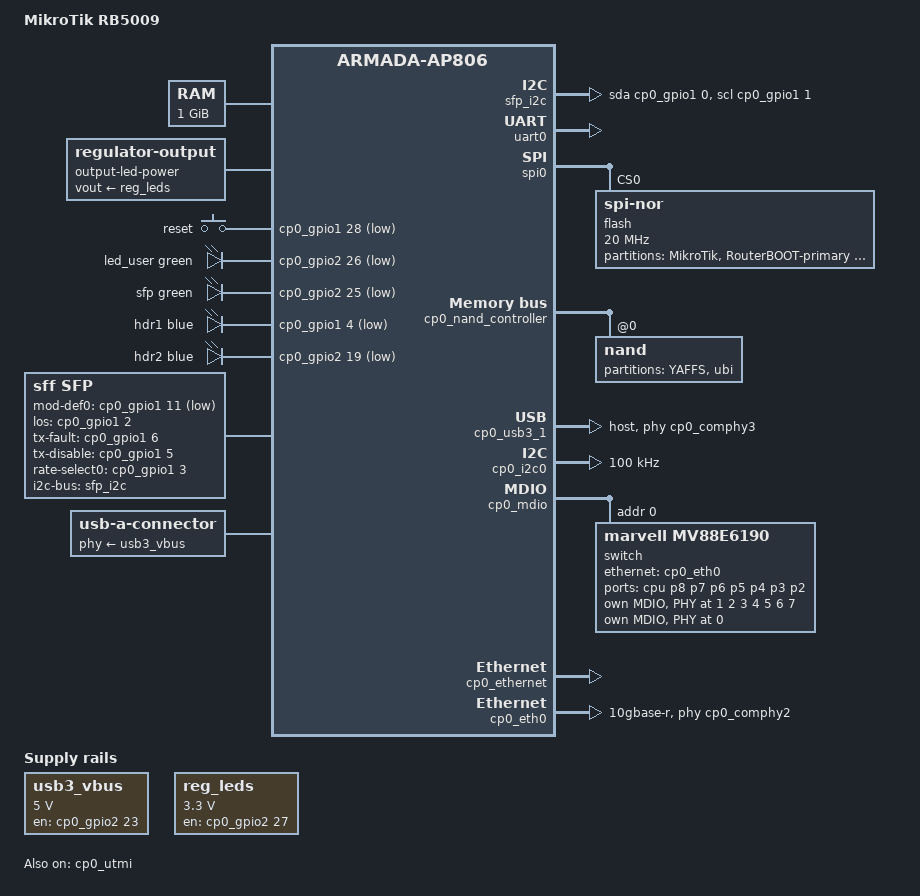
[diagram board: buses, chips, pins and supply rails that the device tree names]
// SPDX-License-Identifier: GPL-2.0-or-later OR MIT

/dts-v1/;

#include "armada-7040.dtsi"
#include <dt-bindings/gpio/gpio.h>
#include <dt-bindings/input/input.h>
#include <dt-bindings/leds/common.h>

/ {
	model = "MikroTik RB5009";
	compatible = "mikrotik,rb5009", "marvell,armada7040",
		     "marvell,armada-ap806-quad", "marvell,armada-ap806";

	chosen {
		stdout-path = "serial0:115200n8";
	};

	memory@0 {
		device_type = "memory";
		reg = <0x0 0x0 0x0 0x40000000>;
	};

	aliases {
		led-boot = &led_user;
		led-failsafe = &led_user;
		led-running = &led_user;
		led-upgrade = &led_user;
		label-mac-device = &p1;
	};

	usb3_vbus: regulator-usb3-vbus0 {
		compatible = "regulator-fixed";
		regulator-name = "usb3_vbus";
		regulator-min-microvolt = <5000000>;
		regulator-max-microvolt = <5000000>;
		gpio = <&cp0_gpio2 23 GPIO_ACTIVE_HIGH>;
		enable-active-high;
	};

	reg_leds: regulator-leds {
		compatible = "regulator-fixed";
		regulator-name = "LED-power";
		regulator-min-microvolt = <3300000>;
		regulator-max-microvolt = <3300000>;
		gpio = <&cp0_gpio2 27 GPIO_ACTIVE_HIGH>;
		enable-active-high;
		regulator-boot-on;
	};

	output-led-power {
		compatible = "regulator-output";
		vout-supply = <&reg_leds>;
	};

	sfp_i2c: sfp-i2c {
		compatible = "i2c-gpio";
		sda-gpios = <&cp0_gpio1 0 (GPIO_ACTIVE_HIGH|GPIO_OPEN_DRAIN)>;
		scl-gpios = <&cp0_gpio1 1 (GPIO_ACTIVE_HIGH|GPIO_OPEN_DRAIN)>;
	};

	keys {
		compatible = "gpio-keys";

		reset {
			label = "reset";
			gpios = <&cp0_gpio1 28 GPIO_ACTIVE_LOW>;
			linux,code = <KEY_RESTART>;
		};
	};

	leds {
		compatible = "gpio-leds";

		led_user: user {
			function = "user";
			gpios = <&cp0_gpio2 26 GPIO_ACTIVE_LOW>;
			color = <LED_COLOR_ID_GREEN>;
		};

		sfp {
			function = "sfp";
			gpios = <&cp0_gpio2 25 GPIO_ACTIVE_LOW>;
			color = <LED_COLOR_ID_GREEN>;
		};

		hdr1 {
			function = "hdr1";
			gpios = <&cp0_gpio1 4 GPIO_ACTIVE_LOW>;
			color = <LED_COLOR_ID_BLUE>;
		};

		hdr2 {
			function = "hdr2";
			gpios = <&cp0_gpio2 19 GPIO_ACTIVE_LOW>;
			color = <LED_COLOR_ID_BLUE>;
		};
	};

	sfp: sfp {
		compatible = "sff,sfp";
		i2c-bus = <&sfp_i2c>;
		mod-def0-gpios = <&cp0_gpio1 11 GPIO_ACTIVE_LOW>;
		los-gpios = <&cp0_gpio1 2 GPIO_ACTIVE_HIGH>;
		tx-fault-gpios = <&cp0_gpio1 6 GPIO_ACTIVE_HIGH>;
		tx-disable-gpios = <&cp0_gpio1 5 GPIO_ACTIVE_HIGH>;
		rate-select0-gpios = <&cp0_gpio1 3 GPIO_ACTIVE_HIGH>;
	};
};

&uart0 {
	status = "okay";

	pinctrl-0 = <&uart0_pins>;
	pinctrl-names = "default";
};


&spi0 {
	status = "okay";

	flash@0 {
		#address-cells = <1>;
		#size-cells = <1>;
		compatible = "jedec,spi-nor";
		reg = <0>;
		spi-max-frequency = <20000000>;

		partitions {
			compatible = "fixed-partitions";
			#address-cells = <1>;
			#size-cells = <1>;

			partition@0 {
				compatible = "mikrotik,routerboot-partitions";
				#address-cells = <1>;
				#size-cells = <1>;
				label = "MikroTik";
				reg = <0x0 0xfe0000>;

				hard_config: hard_config {
					read-only;

					nvmem-layout {
						compatible = "mikrotik,routerboot-nvmem";

						macaddr_hard: base-mac-address {
							#nvmem-cell-cells = <1>;
						};
					};
				};

				soft_config {
				};

				dtb_config {
					read-only;
				};
			};

			partition@b0000 {
				label = "RouterBOOT-primary";
				reg = <0xb0000 0x10000>;
			};

			/* Empty space on NOR repurposed for U-Boot environment */
			partition@fe0000 {
				label = "u-boot-env";
				reg = <0xfe0000 0x20000>;

				nvmem-layout {
					compatible = "u-boot,env";
				};
			};
		};
	};
};

&cp0_nand_controller {
	status = "okay";

	nand@0 {
		reg = <0>;
		nand-rb = <0>;
		nand-ecc-mode = "hw";
		nand-ecc-strength = <4>;
		nand-ecc-step-size = <512>;
		nand-on-flash-bbt;

		partitions {
			compatible = "fixed-partitions";
			#address-cells = <1>;
			#size-cells = <1>;

			partition@0 {
				label = "YAFFS";
				reg = <0x0 0x800000>;
			};

			partition@800000 {
				label = "ubi";
				reg = <0x800000 0x3f800000>;
			};
		};
	};
};

&cp0_utmi {
	status = "okay";
};

&cp0_comphy3 {
	connector {
		compatible = "usb-a-connector";
		phy-supply = <&usb3_vbus>;
	};
};

&cp0_usb3_1 {
	status = "okay";
	phys = <&cp0_comphy3 1>, <&cp0_utmi1>;
	phy-names = "cp0-usb3h1-comphy", "utmi";
	dr_mode = "host";
};

&cp0_i2c0 {
	status = "okay";
	clock-frequency = <100000>;
};

&cp0_mdio {
	status = "okay";
};

&cp0_ethernet {
	status = "okay";
};

&cp0_eth0 {
	/* This port is connected to 88E6393X switch */
	status = "okay";
	phy-mode = "10gbase-r";
	phys = <&cp0_comphy2 0>;
	managed = "in-band-status";
	nvmem-cells = <&macaddr_hard 0>;
	nvmem-cell-names = "mac-address";
};

&cp0_mdio {
	status = "okay";

	switch@0 {
		/* Actual device is MV88E6393X */
		compatible = "marvell,mv88e6190";
		#address-cells = <1>;
		#size-cells = <0>;
		reg = <0>;
		/* LED config is lost if switch is reset */
		//reset-gpios = <&cp0_gpio2 2 GPIO_ACTIVE_HIGH>;

		ports {
			#address-cells = <1>;
			#size-cells = <0>;

			port@0 {
				reg = <0>;
				label = "cpu";
				ethernet = <&cp0_eth0>;
				phy-mode = "10gbase-r";
				managed = "in-band-status";
			};

			port@1 {
				reg = <1>;
				label = "p8";
				phy-handle = <&switch0phy1>;
				nvmem-cells = <&macaddr_hard 7>;
				nvmem-cell-names = "mac-address";
			};

			port@2 {
				reg = <2>;
				label = "p7";
				phy-handle = <&switch0phy2>;
				nvmem-cells = <&macaddr_hard 6>;
				nvmem-cell-names = "mac-address";
			};

			port@3 {
				reg = <3>;
				label = "p6";
				phy-handle = <&switch0phy3>;
				nvmem-cells = <&macaddr_hard 5>;
				nvmem-cell-names = "mac-address";
			};

			port@4 {
				reg = <4>;
				label = "p5";
				phy-handle = <&switch0phy4>;
				nvmem-cells = <&macaddr_hard 4>;
				nvmem-cell-names = "mac-address";
			};

			port@5 {
				reg = <5>;
				label = "p4";
				phy-handle = <&switch0phy5>;
				nvmem-cells = <&macaddr_hard 3>;
				nvmem-cell-names = "mac-address";
			};

			port@6 {
				reg = <6>;
				label = "p3";
				phy-handle = <&switch0phy6>;
				nvmem-cells = <&macaddr_hard 2>;
				nvmem-cell-names = "mac-address";
			};

			port@7 {
				reg = <7>;
				label = "p2";
				phy-handle = <&switch0phy7>;
				nvmem-cells = <&macaddr_hard 1>;
				nvmem-cell-names = "mac-address";
			};

			p1: port@9 {
				reg = <9>;
				label = "p1";
				phy-mode = "sgmii";
				phy-handle = <&qca8081>;
				managed = "in-band-status";
				nvmem-cells = <&macaddr_hard 0>;
				nvmem-cell-names = "mac-address";
			};

			port@a {
				reg = <10>;
				label = "sfp";
				phy-mode = "10gbase-r";
				managed = "in-band-status";
				sfp = <&sfp>;
				nvmem-cells = <&macaddr_hard 8>;
				nvmem-cell-names = "mac-address";
			};
		};

		mdio {
			#address-cells = <1>;
			#size-cells = <0>;

			switch0phy1: switch0phy1@1 {
				reg = <0x1>;
			};

			switch0phy2: switch0phy2@2 {
				reg = <0x2>;
			};

			switch0phy3: switch0phy3@3 {
				reg = <0x3>;
			};

			switch0phy4: switch0phy4@4 {
				reg = <0x4>;
			};

			switch0phy5: switch0phy5@5 {
				reg = <0x5>;
			};

			switch0phy6: switch0phy6@6 {
				reg = <0x6>;
			};

			switch0phy7: switch0phy7@7 {
				reg = <0x7>;
			};
		};

		mdio1 {
			compatible = "marvell,mv88e6xxx-mdio-external";
			#address-cells = <1>;
			#size-cells = <0>;

			qca8081: qca8081@0 {
				reg = <0>;

				leds {
					#address-cells = <1>;
					#size-cells = <0>;

					led@1 {
						reg = <1>;
						color = <LED_COLOR_ID_GREEN>;
						function = LED_FUNCTION_WAN;
						default-state = "keep";
						active-low;
					};
				};
			};
		};
	};
};
